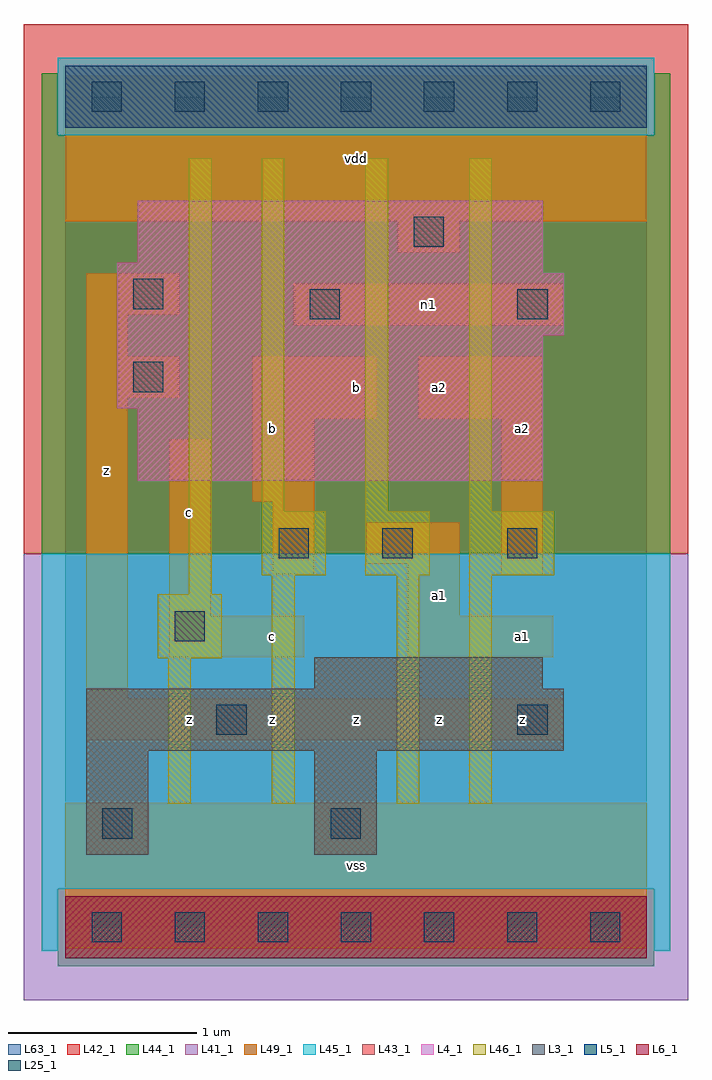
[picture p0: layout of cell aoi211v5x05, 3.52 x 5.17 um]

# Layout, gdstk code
import gdstk
lib = gdstk.Library(unit=1e-6, precision=1e-09)
def R(c, l, rs):  # rectangles x0, y0, x1, y1
    for r in rs: c.add(gdstk.rectangle(r[:2], r[2:], *l))
def A(c, l, x, y, w, h, nx, ny, dx, dy):  # array of equal rectangles
    R(c, l, [(x+i*dx, y+j*dy, x+i*dx+w, y+j*dy+h) for i in range(nx) for j in range(ny)])
L3_1 = (3, 1)
L4_1 = (4, 1)
L5_1 = (5, 1)
L6_1 = (6, 1)
L25_1 = (25, 1)
L41_1 = (41, 1)
L42_1 = (42, 1)
L43_1 = (43, 1)
L44_1 = (44, 1)
L45_1 = (45, 1)
L46_1 = (46, 1)
L49_1 = (49, 1)
L63_1 = (63, 1)

aoi211v5x05 = lib.new_cell('aoi211v5x05')
R(aoi211v5x05, L3_1, [(0.11,0.385,0.44,0.935), (1.32,0.385,1.65,0.935), (0.11,0.935,2.64,1.265), (1.32,1.265,2.53,1.43)])
R(aoi211v5x05, L4_1, [(0.385,2.365,2.53,2.75), (0.275,2.75,2.53,3.135), (0.275,3.135,2.64,3.465), (0.275,3.465,2.53,3.52), (0.385,3.52,2.53,3.85)])
R(aoi211v5x05, L5_1, [(0,4.235,3.08,4.565)])
R(aoi211v5x05, L6_1, [(0,-0.165,3.08,0.165)])
A(aoi211v5x05, L25_1, 0.14, -0.08, 0.16, 0.16, 7, 2, 0.44, 4.4)
R(aoi211v5x05, L25_1, [(0.195,0.47,0.355,0.63), (1.405,0.47,1.565,0.63), (0.8,1.02,0.96,1.18), (2.395,1.02,2.555,1.18), (0.58,1.515,0.74,1.675), (1.13,1.955,1.29,2.115), (1.68,1.955,1.84,2.115), (2.34,1.955,2.5,2.115), (0.36,2.835,0.52,2.995), (1.295,3.22,1.455,3.38), (2.395,3.22,2.555,3.38), (0.36,3.275,0.52,3.435), (1.845,3.605,2.005,3.765)])
R(aoi211v5x05, L41_1, [(-0.22,-0.385,3.3,1.98)])
R(aoi211v5x05, L42_1, [(-0.22,1.98,3.3,4.785)])
R(aoi211v5x05, L43_1, [(0,-0.165,3.08,0.165), (0.11,0.385,0.44,0.935), (1.32,0.385,1.65,0.935), (0.11,0.935,2.64,1.265), (1.32,1.265,2.53,1.43), (0.385,2.365,2.53,2.75), (0.275,2.75,2.53,3.135), (0.275,3.135,2.64,3.465), (0.275,3.465,2.53,3.52), (0.385,3.52,2.53,3.85), (0,4.235,3.08,4.565)])
R(aoi211v5x05, L44_1, [(-0.04,-0.205,3.12,0.205), (-0.125,1.98,3.205,4.195), (-0.125,4.195,-0.04,4.525), (3.12,4.195,3.205,4.525)])
R(aoi211v5x05, L45_1, [(-0.125,-0.125,-0.04,0.205), (3.12,-0.125,3.205,0.205), (-0.125,0.205,3.205,1.98), (-0.04,4.195,3.12,4.605)])
A(aoi211v5x05, L46_1, 1.04, 2.205, 0.12, 1.87, 3, 1, 0.55, 0)
R(aoi211v5x05, L46_1, [(0.545,0.655,0.665,1.425), (1.095,0.655,1.215,1.865), (1.755,0.655,1.875,1.865), (2.14,0.655,2.26,1.865), (0.49,1.425,0.83,1.765), (0.655,1.765,0.775,4.075), (1.04,1.865,1.38,2.205), (1.59,1.865,1.93,2.205), (2.14,1.865,2.59,2.205)])
R(aoi211v5x05, L49_1, [(0,-0.11,3.08,0.66), (0.11,0.99,2.64,1.21), (0.11,1.21,0.33,2.805), (0.55,1.43,1.265,1.65), (1.815,1.43,2.585,1.65), (0.55,1.65,0.77,2.585), (1.815,1.65,2.09,1.925), (1.1,1.87,1.32,2.255), (2.31,1.87,2.53,2.695), (1.595,1.925,2.09,2.145), (0.99,2.255,1.32,2.695), (0.99,2.695,1.65,3.025), (1.87,2.695,2.53,3.025), (0.11,2.805,0.605,3.025), (0.11,3.025,0.33,3.245), (1.21,3.19,2.64,3.41), (0.11,3.245,0.605,3.465), (1.76,3.575,2.09,3.74), (0,3.74,3.08,4.51)])
R(aoi211v5x05, L63_1, [(0,0,3.08,4.4)])
aoi211v5x05.add(gdstk.Label('z', (0.22,2.42), layer=49, texttype=1))
aoi211v5x05.add(gdstk.Label('z', (0.66,1.1), layer=49, texttype=1))
aoi211v5x05.add(gdstk.Label('c', (0.66,2.2), layer=49, texttype=1))
aoi211v5x05.add(gdstk.Label('vss', (1.54,0.33), layer=49, texttype=1))
aoi211v5x05.add(gdstk.Label('c', (1.1,1.54), layer=49, texttype=1))
aoi211v5x05.add(gdstk.Label('z', (1.1,1.1), layer=49, texttype=1))
aoi211v5x05.add(gdstk.Label('z', (1.54,1.1), layer=49, texttype=1))
aoi211v5x05.add(gdstk.Label('b', (1.54,2.86), layer=49, texttype=1))
aoi211v5x05.add(gdstk.Label('b', (1.1,2.64), layer=49, texttype=1))
aoi211v5x05.add(gdstk.Label('vdd', (1.54,4.07), layer=49, texttype=1))
aoi211v5x05.add(gdstk.Label('z', (1.98,1.1), layer=49, texttype=1))
aoi211v5x05.add(gdstk.Label('a1', (2.42,1.54), layer=49, texttype=1))
aoi211v5x05.add(gdstk.Label('z', (2.42,1.1), layer=49, texttype=1))
aoi211v5x05.add(gdstk.Label('a1', (1.98,1.76), layer=49, texttype=1))
aoi211v5x05.add(gdstk.Label('a2', (2.42,2.64), layer=49, texttype=1))
aoi211v5x05.add(gdstk.Label('a2', (1.98,2.86), layer=49, texttype=1))
aoi211v5x05.add(gdstk.Label('n1', (1.925,3.3), layer=49, texttype=1))

lib.write_gds('aoi211v5x05.gds')
